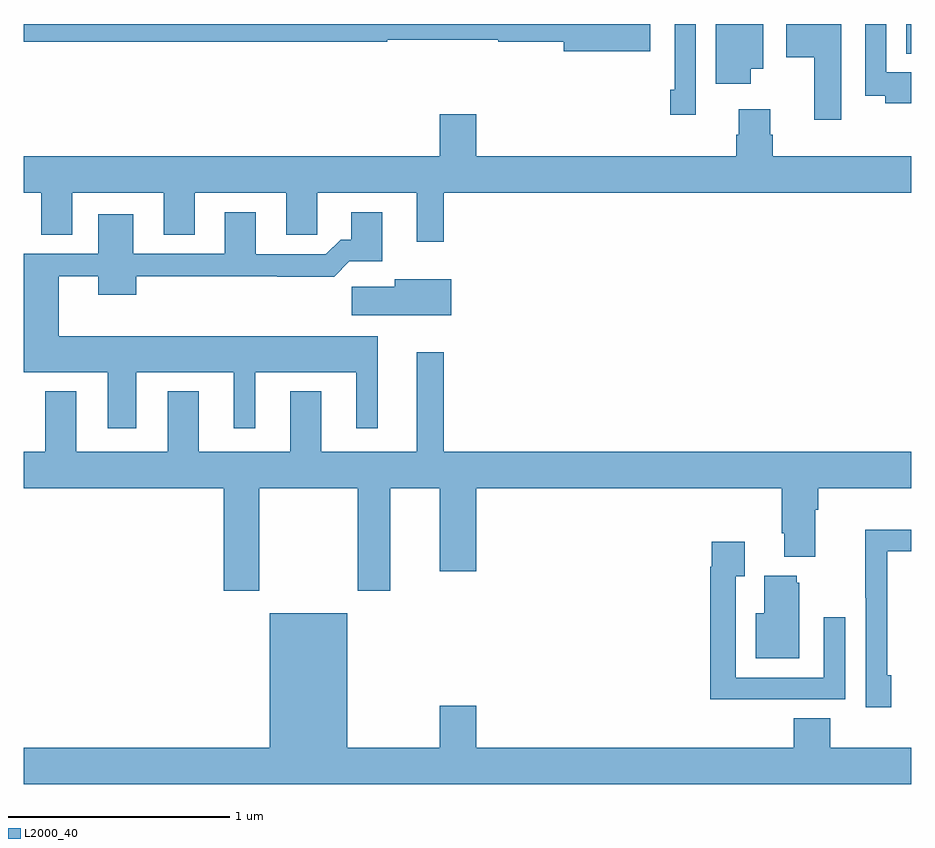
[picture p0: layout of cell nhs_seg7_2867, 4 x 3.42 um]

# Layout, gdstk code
import gdstk
lib = gdstk.Library(unit=1e-6, precision=1e-09)
def R(c, l, rs):  # rectangles x0, y0, x1, y1
    for r in rs: c.add(gdstk.rectangle(r[:2], r[2:], *l))
def P(c, l, *ps):  # polygons
    for p in ps: c.add(gdstk.Polygon(p, *l))
L2000_40 = (2000, 40)

nhs_seg7_2867 = lib.new_cell('nhs_seg7_2867')
R(nhs_seg7_2867, L2000_40, [(298.977,1043.867,299,1044)])
P(nhs_seg7_2867, L2000_40, [(297.823,1044),(295,1044),(295,1043.92),(296.638,1043.92),(296.638,1043.928),(297.138,1043.928),(297.138,1043.92),(297.434,1043.92),(297.434,1043.878),(297.823,1043.878)],
  [(298.276,1043.798),(298.333,1043.798),(298.333,1044),(298.118,1044),(298.118,1043.73),(298.276,1043.73)],
  [(299,1043.782),(298.887,1043.782),(298.887,1044),(298.791,1044),(298.791,1043.676),(298.883,1043.676),(298.883,1043.642),(299,1043.642)],
  [(298.029,1044),(297.933,1044),(297.933,1043.704),(297.913,1043.704),(297.913,1043.592),(298.029,1043.592)],
  [(298.684,1043.998),(298.437,1043.998),(298.437,1043.851),(298.562,1043.851),(298.562,1043.568),(298.684,1043.568)],
  [(296.893,1043.24),(299,1043.24),(299,1043.404),(298.376,1043.404),(298.376,1043.502),(298.363,1043.502),(298.363,1043.617),(298.223,1043.617),(298.223,1043.502),(298.211,1043.502),(298.211,1043.404),(297.04,1043.404),(297.04,1043.593),(296.876,1043.593),(296.876,1043.404),(295,1043.404),(295,1043.24),(295.079,1043.24),(295.079,1043.05),(295.219,1043.05),(295.219,1043.24),(295.631,1043.24),(295.631,1043.05),(295.771,1043.05),(295.771,1043.24),(296.183,1043.24),(296.183,1043.05),(296.322,1043.05),(296.322,1043.24),(296.771,1043.24),(296.771,1043.019),(296.893,1043.019)],
  [(295.507,1042.43),(295.946,1042.43),(295.946,1042.179),(296.044,1042.179),(296.044,1042.43),(296.498,1042.43),(296.498,1042.179),(296.596,1042.179),(296.596,1042.594),(295.159,1042.594),(295.159,1042.864),(295.337,1042.864),(295.337,1042.781),(295.508,1042.781),(295.508,1042.864),(296.143,1042.864),(296.143,1042.862),(296.399,1042.862),(296.468,1042.931),(296.617,1042.931),(296.617,1043.152),(296.477,1043.152),(296.477,1043.029),(296.428,1043.029),(296.361,1042.962),(296.047,1042.962),(296.047,1043.152),(295.907,1043.152),(295.907,1042.965),(295.495,1042.965),(295.495,1043.143),(295.337,1043.143),(295.337,1042.965),(295,1042.965),(295,1042.43),(295.379,1042.43),(295.379,1042.179),(295.507,1042.179)],
  [(296.926,1042.849),(296.672,1042.849),(296.672,1042.817),(296.478,1042.817),(296.478,1042.688),(296.926,1042.688)],
  [(295.789,1042.345),(295.649,1042.345),(295.649,1042.072),(295.237,1042.072),(295.237,1042.345),(295.097,1042.345),(295.097,1042.072),(295,1042.072),(295,1041.908),(295.901,1041.908),(295.901,1041.447),(296.061,1041.447),(296.061,1041.908),(296.506,1041.908),(296.506,1041.447),(296.653,1041.447),(296.653,1041.908),(296.876,1041.908),(296.876,1041.534),(297.04,1041.534),(297.04,1041.908),(298.415,1041.908),(298.415,1041.706),(298.427,1041.706),(298.427,1041.599),(298.567,1041.599),(298.567,1041.812),(298.58,1041.812),(298.58,1041.908),(299,1041.908),(299,1042.072),(296.893,1042.072),(296.893,1042.522),(296.771,1042.522),(296.771,1042.072),(296.341,1042.072),(296.341,1042.345),(296.201,1042.345),(296.201,1042.072),(295.789,1042.072)],
  [(298.909,1041.066),(298.89,1041.066),(298.89,1041.624),(299,1041.624),(299,1041.722),(298.792,1041.722),(298.792,1041.415),(298.794,1041.415),(298.794,1040.922),(298.909,1040.922)],
  [(298.385,1040.958),(298.701,1040.958),(298.701,1041.328),(298.605,1041.328),(298.605,1041.054),(298.209,1041.054),(298.209,1041.511),(298.249,1041.511),(298.249,1041.667),(298.101,1041.667),(298.101,1041.554),(298.093,1041.554),(298.093,1040.957),(298.385,1040.957)],
  [(298.495,1041.483),(298.484,1041.483),(298.484,1041.514),(298.337,1041.514),(298.337,1041.346),(298.298,1041.346),(298.298,1041.143),(298.495,1041.143)],
  [(299,1040.74),(298.634,1040.74),(298.634,1040.873),(298.469,1040.873),(298.469,1040.74),(297.04,1040.74),(297.04,1040.929),(296.876,1040.929),(296.876,1040.74),(296.458,1040.74),(296.458,1041.346),(296.108,1041.346),(296.108,1040.74),(295,1040.74),(295,1040.576),(299,1040.576)])

lib.write_gds('nhs_seg7_2867.gds')
